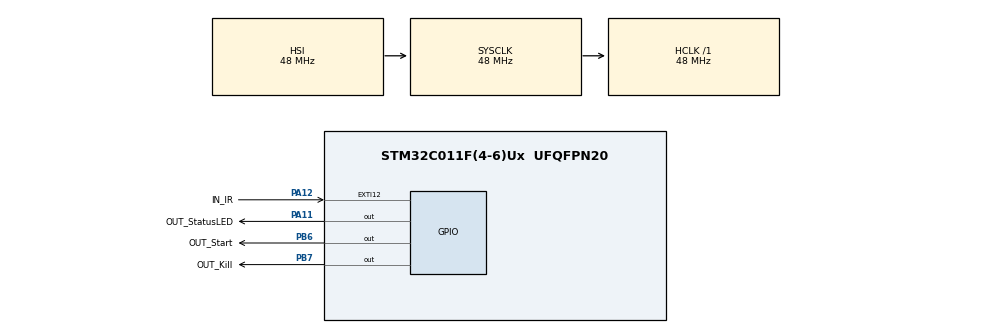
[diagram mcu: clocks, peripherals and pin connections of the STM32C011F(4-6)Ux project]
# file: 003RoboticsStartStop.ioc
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Mcu.Family=STM32C0
Mcu.Name=STM32C011F(4-6)Ux
Mcu.Package=UFQFPN20
NVIC.EXTI4_15_IRQn=true\:0\:0\:false\:false\:true\:true\:true\:true
PA11\ [PA9].GPIO_Label=OUT_StatusLED
PA11\ [PA9].Signal=GPIO_Output
PA12\ [PA10].GPIO_Label=IN_IR
PA12\ [PA10].GPIO_ModeDefaultEXTI=GPIO_MODE_IT_FALLING
PA12\ [PA10].Signal=GPXTI12
PA13.Mode=Serial_Wire
PA13.Signal=DEBUG_SWDIO
PA14-BOOT0.Mode=Serial_Wire
PA14-BOOT0.Signal=DEBUG_SWCLK
PB6.GPIO_Label=OUT_Start
PB6.Signal=GPIO_Output
PB7.GPIO_Label=OUT_Kill
PB7.Signal=GPIO_Output
ProjectManager.HeapSize=0x200
ProjectManager.StackSize=0x400
ProjectManager.TargetToolchain=STM32CubeIDE
RCC.ADCFreq_Value=48000000
RCC.AHBFreq_Value=48000000
RCC.CortexFreq_Value=48000000
RCC.EXTERNAL_CLOCK_VALUE=12288000
RCC.HCLKFreq_Value=48000000
RCC.HSE_VALUE=8000000
RCC.HSISYSCLKDivider=RCC_HSI_DIV1
RCC.HSI_VALUE=48000000
RCC.LSE_VALUE=32768
RCC.SYSCLKFreq_VALUE=48000000
TIM1.Period=65536 - 1
TIM1.Prescaler=48 - 1
VP_TIM1_VS_ClockSourceINT.Mode=Internal
board=custom

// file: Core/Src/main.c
/* USER CODE BEGIN Header */
/**
  ******************************************************************************
  * @file           : main.c
  * @brief          : Main program body
  ******************************************************************************
  * @attention
  *
  * Copyright (c) 2025 STMicroelectronics.
  * All rights reserved.
  *
  * This software is licensed under terms that can be found in the LICENSE file
  * in the root directory of this software component.
  * If no LICENSE file comes with this software, it is provided AS-IS.
  *
  ******************************************************************************
  */
/* USER CODE END Header */
#include "main.h"
#include "start.h"

/* USER CODE BEGIN PM */
#define LED_ON()			(HAL_GPIO_WritePin(OUT_StatusLED_GPIO_Port, OUT_StatusLED_Pin, GPIO_PIN_SET))
#define LED_OFF()			(HAL_GPIO_WritePin(OUT_StatusLED_GPIO_Port, OUT_StatusLED_Pin, GPIO_PIN_RESET))
#define LED_TOGGLE()		(HAL_GPIO_TogglePin(OUT_StatusLED_GPIO_Port, OUT_StatusLED_Pin))
/* USER CODE END PM */

TIM_HandleTypeDef htim1;

void SystemClock_Config(void);
static void MX_GPIO_Init(void);
static void MX_TIM1_Init(void);
/* USER CODE BEGIN PFP */
void start_save_data(START_DATA *data);
void start_load_data(START_DATA *data);
void start_state_changed(char new_state);
void start_programming_done(char new_stop_cmd);
void delay_no_timer(void); // Simple blocking delay
/* USER CODE END PFP */

int main(void)
{

  /* MCU Configuration--------------------------------------------------------*/

  /* Reset of all peripherals, Initializes the Flash interface and the Systick. */
  HAL_Init();

  /* Configure the system clock */
  SystemClock_Config();

  /* Initialize all configured peripherals */
  MX_GPIO_Init();
  MX_TIM1_Init();
  /* USER CODE BEGIN 2 */
  start_init(start_save_data,
             start_load_data,
             start_programming_done,
             start_state_changed);
  /* USER CODE END 2 */

  /* Infinite loop */
  while (1)
  {

    /* USER CODE BEGIN 3 */
	// Non-blocking flash for the final STOPPED state
	if (start_get_state() == START_STATE_STOPPED)
	{
	    LED_ON();
	    HAL_Delay(50); // Use HAL_Delay, it's safe in the main loop
	    LED_OFF();
	    HAL_Delay(50);
	}
  }
  /* USER CODE END 3 */
}

void SystemClock_Config(void)
{
  RCC_OscInitTypeDef RCC_OscInitStruct = {0};
  RCC_ClkInitTypeDef RCC_ClkInitStruct = {0};

  /** Initializes the RCC Oscillators according to the specified parameters
  * in the RCC_OscInitTypeDef structure.
  */
  RCC_OscInitStruct.OscillatorType = RCC_OSCILLATORTYPE_HSI;
  RCC_OscInitStruct.HSIState = RCC_HSI_ON;
  RCC_OscInitStruct.HSIDiv = RCC_HSI_DIV1;
  RCC_OscInitStruct.HSICalibrationValue = RCC_HSICALIBRATION_DEFAULT;
  if (HAL_RCC_OscConfig(&RCC_OscInitStruct) != HAL_OK)
  {
    Error_Handler();
  }

  /** Initializes the CPU, AHB and APB buses clocks
  */
  RCC_ClkInitStruct.ClockType = RCC_CLOCKTYPE_HCLK|RCC_CLOCKTYPE_SYSCLK
                              |RCC_CLOCKTYPE_PCLK1;
  RCC_ClkInitStruct.SYSCLKSource = RCC_SYSCLKSOURCE_HSI;
  RCC_ClkInitStruct.SYSCLKDivider = RCC_SYSCLK_DIV1;
  RCC_ClkInitStruct.AHBCLKDivider = RCC_HCLK_DIV1;
  RCC_ClkInitStruct.APB1CLKDivider = RCC_APB1_DIV1;

  if (HAL_RCC_ClockConfig(&RCC_ClkInitStruct, FLASH_LATENCY_1) != HAL_OK)
  {
    Error_Handler();
  }
}

static void MX_TIM1_Init(void)
{

  TIM_ClockConfigTypeDef sClockSourceConfig = {0};
  TIM_MasterConfigTypeDef sMasterConfig = {0};

  htim1.Instance = TIM1;
  htim1.Init.Prescaler = 48 - 1;
  htim1.Init.CounterMode = TIM_COUNTERMODE_UP;
  htim1.Init.Period = 65536 - 1;
  htim1.Init.ClockDivision = TIM_CLOCKDIVISION_DIV1;
  htim1.Init.RepetitionCounter = 0;
  htim1.Init.AutoReloadPreload = TIM_AUTORELOAD_PRELOAD_DISABLE;
  if (HAL_TIM_Base_Init(&htim1) != HAL_OK)
  {
    Error_Handler();
  }
  sClockSourceConfig.ClockSource = TIM_CLOCKSOURCE_INTERNAL;
  if (HAL_TIM_ConfigClockSource(&htim1, &sClockSourceConfig) != HAL_OK)
  {
    Error_Handler();
  }
  sMasterConfig.MasterOutputTrigger = TIM_TRGO_RESET;
  sMasterConfig.MasterOutputTrigger2 = TIM_TRGO2_RESET;
  sMasterConfig.MasterSlaveMode = TIM_MASTERSLAVEMODE_DISABLE;
  if (HAL_TIMEx_MasterConfigSynchronization(&htim1, &sMasterConfig) != HAL_OK)
  {
    Error_Handler();
  }

}

static void MX_GPIO_Init(void)
{
  GPIO_InitTypeDef GPIO_InitStruct = {0};

  /* GPIO Ports Clock Enable */
  __HAL_RCC_GPIOA_CLK_ENABLE();
  __HAL_RCC_GPIOB_CLK_ENABLE();

  /*Configure GPIO pin Output Level */
  HAL_GPIO_WritePin(OUT_StatusLED_GPIO_Port, OUT_StatusLED_Pin, GPIO_PIN_RESET);

  /*Configure GPIO pin Output Level */
  HAL_GPIO_WritePin(GPIOB, OUT_Start_Pin|OUT_Kill_Pin, GPIO_PIN_RESET);

  /*Configure GPIO pin : OUT_StatusLED_Pin */
  GPIO_InitStruct.Pin = OUT_StatusLED_Pin;
  GPIO_InitStruct.Mode = GPIO_MODE_OUTPUT_PP;
  GPIO_InitStruct.Pull = GPIO_NOPULL;
  GPIO_InitStruct.Speed = GPIO_SPEED_FREQ_LOW;
  HAL_GPIO_Init(OUT_StatusLED_GPIO_Port, &GPIO_InitStruct);

  /*Configure GPIO pin : IN_IR_Pin */
  GPIO_InitStruct.Pin = IN_IR_Pin;
  GPIO_InitStruct.Mode = GPIO_MODE_IT_FALLING;
  GPIO_InitStruct.Pull = GPIO_NOPULL;
  HAL_GPIO_Init(IN_IR_GPIO_Port, &GPIO_InitStruct);

  /*Configure GPIO pins : OUT_Start_Pin OUT_Kill_Pin */
  GPIO_InitStruct.Pin = OUT_Start_Pin|OUT_Kill_Pin;
  GPIO_InitStruct.Mode = GPIO_MODE_OUTPUT_PP;
  GPIO_InitStruct.Pull = GPIO_NOPULL;
  GPIO_InitStruct.Speed = GPIO_SPEED_FREQ_LOW;
  HAL_GPIO_Init(GPIOB, &GPIO_InitStruct);

  /* EXTI interrupt init*/
  HAL_NVIC_SetPriority(EXTI4_15_IRQn, 0, 0);
  HAL_NVIC_EnableIRQ(EXTI4_15_IRQn);

}

/* USER CODE BEGIN 4 */
/**
 * @brief  Delay function that does not use SysTick.
 * Used for simple blocking delays in indication functions.
 * Calibrated for 48MHz clock.
 */
void delay_no_timer(void) {
	volatile uint32_t delay = 480000; // Approx 100ms
	while(delay--) {
		__NOP();
	}

	// --- Start Module Callback Implementations ---

	/**
	 * @brief  Save start data to non-volatile memory.
	 * @note   STM32C0 has no EEPROM. You must implement Flash Emulated EEPROM here
	 * to properly save the `stop_cmd` across power cycles.
	 */
	void start_save_data(START_DATA *data) {
		/*
		 * TODO: Implement saving `data->stop_cmd` and `data->state` to Flash memory.
		 */
	    (void)data; // Suppress unused parameter warning
	}

	/**
	 * @brief  Load start data from non-volatile memory.
	 * @note   See `start_save_data`. This function should read from Flash.
	 */
	void start_load_data(START_DATA *data) {
		/*
		 * TODO: Implement loading from Flash memory.
		 *
		 * If read fails or data is invalid:
		 * data->state = START_STATE_POWER_ON;
		 * data->stop_cmd = START_DEFAULT_STOP_CMD;
		 */

	    // For now, just set defaults
		data->state = START_STATE_POWER_ON;
		data->stop_cmd = START_DEFAULT_STOP_CMD;
	}

	/**
	 * @brief  Called when the start module state changes.
	 * This is where we control the robot's output pins.
	 */
	void start_state_changed(char new_state) {
		switch(new_state) {
		case START_STATE_POWER_ON:
			LED_OFF();
			HAL_GPIO_WritePin(OUT_Start_GPIO_Port, OUT_Start_Pin, GPIO_PIN_RESET);
			HAL_GPIO_WritePin(OUT_Kill_GPIO_Port, OUT_Kill_Pin, GPIO_PIN_RESET);
			break;

		case START_STATE_STARTED:
			LED_ON();
			HAL_GPIO_WritePin(OUT_Start_GPIO_Port, OUT_Start_Pin, GPIO_PIN_SET);
			HAL_GPIO_WritePin(OUT_Kill_GPIO_Port, OUT_Kill_Pin, GPIO_PIN_RESET);
			break;

		case START_STATE_STOPPED_SAFE:
			LED_TOGGLE(); // Start flashing
			HAL_GPIO_WritePin(OUT_Start_GPIO_Port, OUT_Start_Pin, GPIO_PIN_RESET);
			HAL_GPIO_WritePin(OUT_Kill_GPIO_Port, OUT_Kill_Pin, GPIO_PIN_SET); // Set Kill pin
			break;

		case START_STATE_STOPPED:
			LED_OFF(); // LED will be flashed by main loop
			HAL_GPIO_WritePin(OUT_Start_GPIO_Port, OUT_Start_Pin, GPIO_PIN_RESET);
			HAL_GPIO_WritePin(OUT_Kill_GPIO_Port, OUT_Kill_Pin, GPIO_PIN_SET);
			// Main loop `while(1)` will now take over flashing the LED
			break;
		}
	}

	/**
	 * @brief  Called when a new STOP command is successfully programmed.
	 * Indicate this to the user (e.g., flash LED).
	 */
	void start_programming_done(char new_stop_cmd) {
		(void)new_stop_cmd; // Suppress warning

		// Flash LED twice quickly
		LED_OFF();
		delay_no_timer();
		LED_ON();
		delay_no_timer();
		LED_OFF();
		delay_no_timer();
		LED_ON();
		delay_no_timer();
		LED_OFF();
	}

	// --- HAL Interrupt Callback Implementations ---

	/**
	 * @brief  External Line Interrupts
	 * @param  GPIO_Pin: The pin that triggered the interrupt
	 */
	void HAL_GPIO_EXTI_Callback(uint16_t GPIO_Pin)
	{
	  if (GPIO_Pin == IN_IR_Pin)
	  {
	    // Call the ported IR state machine from ir_rc5.c
	    process_ir_pin_interrupt();
	  }
	}

	/**
	  * @brief  Timer Period Elapsed Callback
	  * @param  htim: timer handle
	  */
	void HAL_TIM_PeriodElapsedCallback(TIM_HandleTypeDef *htim)
	{
	  if (htim->Instance == TIM1)
	  {
	    // Call the ported IR timer timeout function from ir_rc5.c
	    process_ir_timer_timeout();
	  }
	}
/* USER CODE END 4 */

void Error_Handler(void)
{
  __disable_irq();
  while (1)
  {
  }
}
